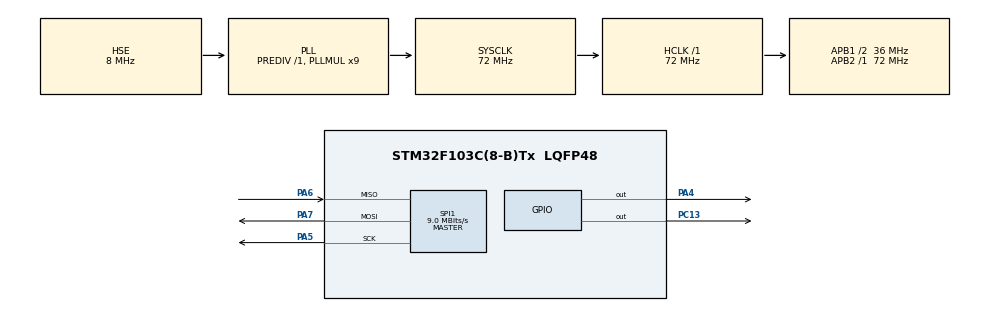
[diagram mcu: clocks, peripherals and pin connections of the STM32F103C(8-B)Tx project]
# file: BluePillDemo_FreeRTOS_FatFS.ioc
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FATFS._FS_LOCK=2
FATFS._MAX_LFN=20
FATFS._USE_FASTSEEK=0
FATFS._USE_MKFS=0
FREERTOS.HEAP_NUMBER=4
FREERTOS.MEMORY_ALLOCATION=2
FREERTOS.Tasks01=file1,24,640,file1Task,Default,NULL,Static,file1Buffer,file1ControlBlock;file2,24,640,file2Task,Default,NULL,Static,file2Buffer,file2ControlBlock
FREERTOS.configMINIMAL_STACK_SIZE=256
FREERTOS.configTOTAL_HEAP_SIZE=3072
Mcu.Family=STM32F1
Mcu.Name=STM32F103C(8-B)Tx
Mcu.Package=LQFP48
NVIC.PriorityGroup=NVIC_PRIORITYGROUP_4
NVIC.TIM1_UP_IRQn=true\:0\:0\:false\:false\:true\:false\:false\:true
NVIC.TimeBase=TIM1_UP_IRQn
NVIC.TimeBaseIP=TIM1
PA13.Mode=Serial_Wire
PA13.Signal=SYS_JTMS-SWDIO
PA14.Mode=Serial_Wire
PA14.Signal=SYS_JTCK-SWCLK
PA4.Signal=GPIO_Output
PA5.Mode=Full_Duplex_Master
PA5.Signal=SPI1_SCK
PA6.Mode=Full_Duplex_Master
PA6.Signal=SPI1_MISO
PA7.Mode=Full_Duplex_Master
PA7.Signal=SPI1_MOSI
PC13-TAMPER-RTC.Signal=GPIO_Output
PC14-OSC32_IN.Mode=LSE-External-Oscillator
PC14-OSC32_IN.Signal=RCC_OSC32_IN
PC15-OSC32_OUT.Mode=LSE-External-Oscillator
PC15-OSC32_OUT.Signal=RCC_OSC32_OUT
PD0-OSC_IN.Mode=HSE-External-Oscillator
PD0-OSC_IN.Signal=RCC_OSC_IN
PD1-OSC_OUT.Mode=HSE-External-Oscillator
PD1-OSC_OUT.Signal=RCC_OSC_OUT
ProjectManager.HeapSize=0x200
ProjectManager.StackSize=0x400
ProjectManager.TargetToolchain=STM32CubeIDE
RCC.AHBFreq_Value=72000000
RCC.APB1CLKDivider=RCC_HCLK_DIV2
RCC.APB1Freq_Value=36000000
RCC.APB1TimFreq_Value=72000000
RCC.APB2Freq_Value=72000000
RCC.APB2TimFreq_Value=72000000
RCC.HCLKFreq_Value=72000000
RCC.PLLMUL=RCC_PLL_MUL9
RCC.PLLSourceVirtual=RCC_PLLSOURCE_HSE
RCC.SYSCLKFreq_VALUE=72000000
RCC.SYSCLKSource=RCC_SYSCLKSOURCE_PLLCLK
RCC.USBFreq_Value=72000000
SPI1.BaudRatePrescaler=SPI_BAUDRATEPRESCALER_8
SPI1.CalculateBaudRate=9.0 MBits/s
SPI1.Direction=SPI_DIRECTION_2LINES
SPI1.Mode=SPI_MODE_MASTER
SPI1.VirtualType=VM_MASTER
VP_FATFS_VS_Generic.Mode=User_defined
VP_FREERTOS_VS_CMSIS_V2.Mode=CMSIS_V2
VP_SYS_VS_tim1.Mode=TIM1
board=custom

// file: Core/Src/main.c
/* USER CODE BEGIN Header */
/**
  ******************************************************************************
  * @file           : main.c
  * @brief          : Main program body
  ******************************************************************************
  * @attention
  *
  * <h2><center>&copy; Copyright (c) 2020 STMicroelectronics.
  * All rights reserved.</center></h2>
  *
  * This software component is licensed by ST under BSD 3-Clause license,
  * the "License"; You may not use this file except in compliance with the
  * License. You may obtain a copy of the License at:
  *                        opensource.org/licenses/BSD-3-Clause
  *
  ******************************************************************************
  */
/* USER CODE END Header */

#include "main.h"
#include "cmsis_os.h"
#include "fatfs.h"

SPI_HandleTypeDef hspi1;

typedef StaticTask_t osStaticThreadDef_t;
osThreadId_t file1Handle;
uint32_t file1Buffer[ 640 ];
osStaticThreadDef_t file1ControlBlock;
osThreadId_t file2Handle;
uint32_t file2Buffer[ 640 ];
osStaticThreadDef_t file2ControlBlock;
/* USER CODE BEGIN PV */
osEventFlagsId_t modemTaskStartedEventHandle;

/* USER CODE END PV */

void SystemClock_Config(void);
static void MX_GPIO_Init(void);
static void MX_SPI1_Init(void);
void file1Task(void *argument);
void file2Task(void *argument);

int main(void)
{

  /* MCU Configuration--------------------------------------------------------*/

  /* Reset of all peripherals, Initializes the Flash interface and the Systick. */
  HAL_Init();

  /* Configure the system clock */
  SystemClock_Config();

  /* Initialize all configured peripherals */
  MX_GPIO_Init();
  MX_SPI1_Init();

  osKernelInitialize();

  /* USER CODE BEGIN RTOS_MUTEX */
  /* add mutexes, ... */
  modemTaskStartedEventHandle = osEventFlagsNew(NULL);
  /* USER CODE END RTOS_MUTEX */

  /* Create the thread(s) */
  /* definition and creation of file1 */
  const osThreadAttr_t file1_attributes = {
    .name = "file1",
    .stack_mem = &file1Buffer[0],
    .stack_size = sizeof(file1Buffer),
    .cb_mem = &file1ControlBlock,
    .cb_size = sizeof(file1ControlBlock),
    .priority = (osPriority_t) osPriorityNormal,
  };
  file1Handle = osThreadNew(file1Task, NULL, &file1_attributes);

  /* definition and creation of file2 */
  const osThreadAttr_t file2_attributes = {
    .name = "file2",
    .stack_mem = &file2Buffer[0],
    .stack_size = sizeof(file2Buffer),
    .cb_mem = &file2ControlBlock,
    .cb_size = sizeof(file2ControlBlock),
    .priority = (osPriority_t) osPriorityNormal,
  };
  file2Handle = osThreadNew(file2Task, NULL, &file2_attributes);

  /* Start scheduler */
  osKernelStart();

  /* We should never get here as control is now taken by the scheduler */

  /* Infinite loop */
  while (1)
  {

  }
}

void SystemClock_Config(void)
{
  RCC_OscInitTypeDef RCC_OscInitStruct = {0};
  RCC_ClkInitTypeDef RCC_ClkInitStruct = {0};

  /** Initializes the CPU, AHB and APB busses clocks
  */
  RCC_OscInitStruct.OscillatorType = RCC_OSCILLATORTYPE_HSE;
  RCC_OscInitStruct.HSEState = RCC_HSE_ON;
  RCC_OscInitStruct.HSEPredivValue = RCC_HSE_PREDIV_DIV1;
  RCC_OscInitStruct.HSIState = RCC_HSI_ON;
  RCC_OscInitStruct.PLL.PLLState = RCC_PLL_ON;
  RCC_OscInitStruct.PLL.PLLSource = RCC_PLLSOURCE_HSE;
  RCC_OscInitStruct.PLL.PLLMUL = RCC_PLL_MUL9;
  if (HAL_RCC_OscConfig(&RCC_OscInitStruct) != HAL_OK)
  {
    Error_Handler();
  }
  /** Initializes the CPU, AHB and APB busses clocks
  */
  RCC_ClkInitStruct.ClockType = RCC_CLOCKTYPE_HCLK|RCC_CLOCKTYPE_SYSCLK
                              |RCC_CLOCKTYPE_PCLK1|RCC_CLOCKTYPE_PCLK2;
  RCC_ClkInitStruct.SYSCLKSource = RCC_SYSCLKSOURCE_PLLCLK;
  RCC_ClkInitStruct.AHBCLKDivider = RCC_SYSCLK_DIV1;
  RCC_ClkInitStruct.APB1CLKDivider = RCC_HCLK_DIV2;
  RCC_ClkInitStruct.APB2CLKDivider = RCC_HCLK_DIV1;

  if (HAL_RCC_ClockConfig(&RCC_ClkInitStruct, FLASH_LATENCY_2) != HAL_OK)
  {
    Error_Handler();
  }
}

static void MX_SPI1_Init(void)
{

  /* SPI1 parameter configuration*/
  hspi1.Instance = SPI1;
  hspi1.Init.Mode = SPI_MODE_MASTER;
  hspi1.Init.Direction = SPI_DIRECTION_2LINES;
  hspi1.Init.DataSize = SPI_DATASIZE_8BIT;
  hspi1.Init.CLKPolarity = SPI_POLARITY_LOW;
  hspi1.Init.CLKPhase = SPI_PHASE_1EDGE;
  hspi1.Init.NSS = SPI_NSS_SOFT;
  hspi1.Init.BaudRatePrescaler = SPI_BAUDRATEPRESCALER_8;
  hspi1.Init.FirstBit = SPI_FIRSTBIT_MSB;
  hspi1.Init.TIMode = SPI_TIMODE_DISABLE;
  hspi1.Init.CRCCalculation = SPI_CRCCALCULATION_DISABLE;
  hspi1.Init.CRCPolynomial = 10;
  if (HAL_SPI_Init(&hspi1) != HAL_OK)
  {
    Error_Handler();
  }

}

static void MX_GPIO_Init(void)
{
  GPIO_InitTypeDef GPIO_InitStruct = {0};

  /* GPIO Ports Clock Enable */
  __HAL_RCC_GPIOC_CLK_ENABLE();
  __HAL_RCC_GPIOD_CLK_ENABLE();
  __HAL_RCC_GPIOA_CLK_ENABLE();

  /*Configure GPIO pin Output Level */
  HAL_GPIO_WritePin(GPIOC, GPIO_PIN_13, GPIO_PIN_RESET);

  /*Configure GPIO pin Output Level */
  HAL_GPIO_WritePin(GPIOA, GPIO_PIN_4, GPIO_PIN_RESET);

  /*Configure GPIO pin : PC13 */
  GPIO_InitStruct.Pin = GPIO_PIN_13;
  GPIO_InitStruct.Mode = GPIO_MODE_OUTPUT_PP;
  GPIO_InitStruct.Pull = GPIO_NOPULL;
  GPIO_InitStruct.Speed = GPIO_SPEED_FREQ_LOW;
  HAL_GPIO_Init(GPIOC, &GPIO_InitStruct);

  /*Configure GPIO pin : PA4 */
  GPIO_InitStruct.Pin = GPIO_PIN_4;
  GPIO_InitStruct.Mode = GPIO_MODE_OUTPUT_PP;
  GPIO_InitStruct.Pull = GPIO_NOPULL;
  GPIO_InitStruct.Speed = GPIO_SPEED_FREQ_LOW;
  HAL_GPIO_Init(GPIOA, &GPIO_InitStruct);

}

void file1Task(void *argument)
{
  /* init code for FATFS */
  MX_FATFS_Init();
  /* USER CODE BEGIN 5 */
  FRESULT res;
  char buf[4];
  UINT brw;
  FIL fp;

  // signal file2Task that FatFS is initialised and file processing can begin
  osEventFlagsSet(modemTaskStartedEventHandle, 0x00000001U);

  res = f_unlink("text.txt");
  res = f_open(&fp, "text.txt", FA_READ | FA_WRITE | FA_CREATE_ALWAYS);
  res = f_write(&fp, "fred", 4, &brw);
  res = f_lseek(&fp, 0U);
  res = f_read(&fp, buf, 4, &brw);
  f_close(&fp);
  (void)res;

  /* Infinite loop */
  for(;;)
  {
    osDelay(1);
  }
  /* USER CODE END 5 */
}

void file2Task(void *argument)
{
  /* USER CODE BEGIN file2Task */
  FRESULT res;
  char buf[4];
  UINT brw;
  FIL fp2;

  // wait for file1Task to have started and completed its initialisation of FatFS and mounted drive
  osEventFlagsWait(modemTaskStartedEventHandle, 0x00000001U, osFlagsWaitAny, osWaitForever);

  res = f_unlink("text2.txt");
  res = f_open(&fp2, "text2.txt", FA_READ | FA_WRITE | FA_CREATE_ALWAYS);
  res = f_write(&fp2, "fred", 4, &brw);
  res = f_lseek(&fp2, 0U);
  res = f_read(&fp2, buf, 4, &brw);
  f_close(&fp2);
  (void)res;

  /* Infinite loop */
  for(;;)
  {
    osDelay(1);
  }
  /* USER CODE END file2Task */
}

void HAL_TIM_PeriodElapsedCallback(TIM_HandleTypeDef *htim)
{
  if (htim->Instance == TIM1) {
    HAL_IncTick();
  }
}

void Error_Handler(void)
{
}

/************************ (C) COPYRIGHT STMicroelectronics *****END OF FILE****/
